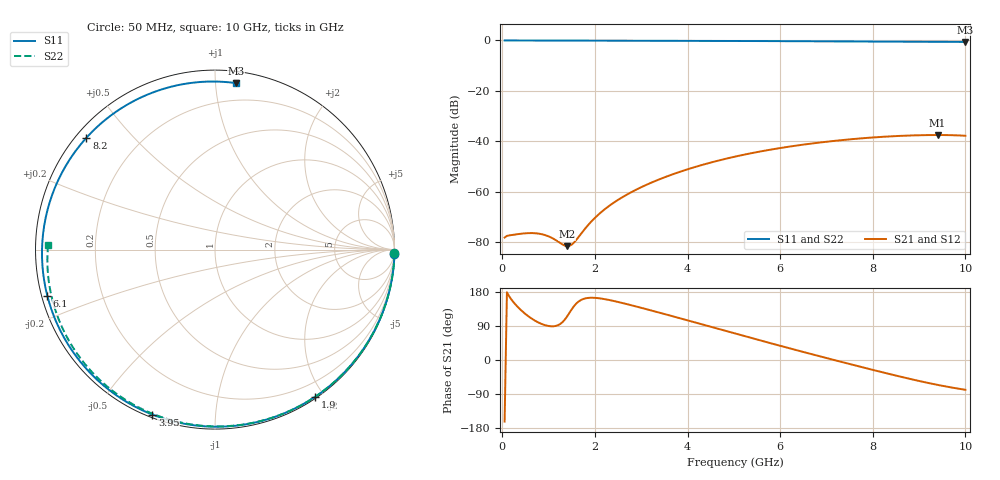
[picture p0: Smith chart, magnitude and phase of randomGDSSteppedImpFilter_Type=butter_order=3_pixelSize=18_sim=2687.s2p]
! freq	dB(S11)	phase(S11)	dB(S12)	phase(S12)
!  dB(S21)	phase(S21)	dB(S22)	phase(S22)
!S-par simulation data
#  GHz  S  DB  R 50
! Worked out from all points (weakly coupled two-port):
!   200 points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, 50 MHz to 10 GHz, reference 50 ohm
!   highest |S21| = -37.48 dB at 9.4 GHz (marker M1); lowest = -81.5 dB at 1.4 GHz (marker M2)
!   lowest |S11| = -0.6 dB at 10 GHz (marker M3), VSWR 29.70, Z = 3.84 + j56.6 ohm
!   |S11| at or under -10 dB: nowhere
!   |S22| runs from -0.6 to 0.0 dB; largest |S21 - S12| = 0
!   S11 on the Smith chart (normalised r, x): 50 MHz: 0, -76; 1.9 GHz: 0.02, -1.88; 3.95 GHz: 0.01, -0.69; 6.1 GHz: 0.02, -0.13; 8.2 GHz: 0.03, +0.37; 10 GHz: 0.08, +1.13
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0.05  -0.00 -1.5  -78.12 -162.6  -78.12 -162.6  -0.00 -1.0
0.25  -0.01 -7.6  -77.00 151.4  -77.00 151.4  -0.00 -5.2
0.7  -0.03 -21.1  -76.40 104.2  -76.40 104.2  -0.01 -14.6
0.95  -0.04 -28.4  -77.31 91.0  -77.31 91.0  -0.02 -19.8
1.25  -0.05 -37.2  -80.27 95.0  -80.27 95.0  -0.03 -25.9
1.4  -0.05 -41.6  -81.54 115.1  -81.54 115.1  -0.04 -29.0
1.55  -0.06 -45.9  -80.06 142.4  -80.06 142.4  -0.04 -32.0
1.75  -0.06 -51.6  -75.45 161.0  -75.45 161.0  -0.05 -36.1
1.9  -0.07 -55.9  -72.21 164.2  -72.21 164.2  -0.05 -39.1
2.15  -0.08 -62.9  -67.84 161.9  -67.84 161.9  -0.06 -44.0
2.5  -0.09 -72.6  -63.18 153.2  -63.18 153.2  -0.07 -50.9
3.4  -0.12 -96.6  -54.98 124.7  -54.98 124.7  -0.09 -68.1
3.95  -0.15 -110.8  -51.37 106.4  -51.37 106.4  -0.11 -78.2
5.05  -0.20 -138.4  -45.94 69.2  -45.94 69.2  -0.15 -97.7
6.1  -0.27 -164.7  -42.36 34.2  -42.36 34.2  -0.20 -115.4
6.7  -0.32 180.0  -40.81 14.8  -40.81 14.8  -0.24 -125.3
7.45  -0.38 160.1  -39.29 -9.0  -39.29 -9.0  -0.30 -137.6
8.2  -0.45 139.0  -38.21 -32.2  -38.21 -32.2  -0.37 -149.9
8.35  -0.46 134.6  -38.05 -36.7  -38.05 -36.7  -0.39 -152.4
8.9  -0.51 118.1  -37.62 -52.6  -37.62 -52.6  -0.45 -161.6
9.4  -0.55 102.4  -37.48 -65.7  -37.48 -65.7  -0.52 -170.3
10  -0.59 82.8  -37.78 -78.6  -37.78 -78.6  -0.63 178.6
